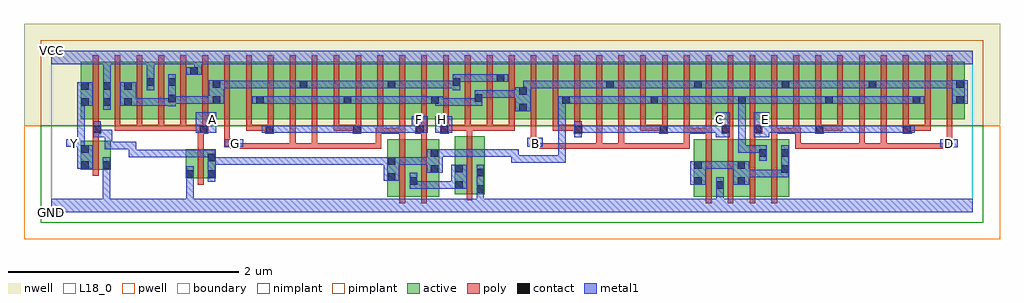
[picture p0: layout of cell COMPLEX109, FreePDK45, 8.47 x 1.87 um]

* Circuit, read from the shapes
.subckt COMPLEX109 A B C D E F G GND H VCC Y
M1 GND n1 Y VSUBS nfet w=0.25u l=0.05u
M2 n1 A GND VSUBS nfet w=0.25u l=0.05u
M3 n2 G n1 VSUBS nfet w=0.5u l=0.05u
M4 n1 F n2 VSUBS nfet w=0.5u l=0.05u
M5 GND H n2 VSUBS nfet w=0.5u l=0.05u
M6 GND B n3 VSUBS nfet w=0.5u l=0.05u
M7 n3 C GND VSUBS nfet w=0.5u l=0.05u
M8 n1 E n3 VSUBS nfet w=0.5u l=0.05u
M9 n3 D n1 VSUBS nfet w=0.5u l=0.05u
M10 VCC n1 Y n4 pfet w=0.5u l=0.05u
M11 n5 A VCC n4 pfet w=0.5u l=0.05u m=5
M12 n6 G n5 n4 pfet w=0.5u l=0.05u
M13 n7 F n6 n4 pfet w=0.5u l=0.05u
M14 n8 F n7 n4 pfet w=0.5u l=0.05u
M15 n5 G n8 n4 pfet w=0.5u l=0.05u
M16 n9 G n5 n4 pfet w=0.5u l=0.05u
M17 n7 F n9 n4 pfet w=0.5u l=0.05u
M18 n10 F n7 n4 pfet w=0.5u l=0.05u
M19 n5 G n10 n4 pfet w=0.5u l=0.05u
M20 n11 G n5 n4 pfet w=0.5u l=0.05u
M21 n7 F n11 n4 pfet w=0.5u l=0.05u
M22 n5 H n7 n4 pfet w=0.5u l=0.05u m=4
M23 n12 B n7 n4 pfet w=0.5u l=0.05u
M24 n1 C n12 n4 pfet w=0.5u l=0.05u
M25 n13 C n1 n4 pfet w=0.5u l=0.05u
M26 n7 B n13 n4 pfet w=0.5u l=0.05u
M27 n14 B n7 n4 pfet w=0.5u l=0.05u
M28 n1 C n14 n4 pfet w=0.5u l=0.05u
M29 n15 C n1 n4 pfet w=0.5u l=0.05u
M30 n7 B n15 n4 pfet w=0.5u l=0.05u
M31 n16 B n7 n4 pfet w=0.5u l=0.05u
M32 n1 C n16 n4 pfet w=0.5u l=0.05u
M33 n17 E n1 n4 pfet w=0.5u l=0.05u
M34 n7 D n17 n4 pfet w=0.5u l=0.05u
M35 n18 D n7 n4 pfet w=0.5u l=0.05u
M36 n1 E n18 n4 pfet w=0.5u l=0.05u
M37 n19 E n1 n4 pfet w=0.5u l=0.05u
M38 n7 D n19 n4 pfet w=0.5u l=0.05u
M39 n20 D n7 n4 pfet w=0.5u l=0.05u
M40 n1 E n20 n4 pfet w=0.5u l=0.05u
M41 n21 E n1 n4 pfet w=0.5u l=0.05u
M42 n7 D n21 n4 pfet w=0.5u l=0.05u
.ends

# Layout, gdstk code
import gdstk
lib = gdstk.Library(unit=1e-6, precision=1e-09)
def R(c, l, rs):  # rectangles x0, y0, x1, y1
    for r in rs: c.add(gdstk.rectangle(r[:2], r[2:], *l))
def A(c, l, x, y, w, h, nx, ny, dx, dy):  # array of equal rectangles
    R(c, l, [(x+i*dx, y+j*dy, x+i*dx+w, y+j*dy+h) for i in range(nx) for j in range(ny)])
active = (1, 0)
pwell = (2, 0)
nwell = (3, 0)
nimplant = (4, 0)
pimplant = (5, 0)
poly = (9, 0)
contact = (10, 0)
metal1 = (11, 0)
L18_0 = (18, 0)
boundary = (235, 0)

complex109 = lib.new_cell('COMPLEX109')
A(complex109, active, 5.042, 0.807, 0.23, 0.5, 3, 1, 0.38, 0)
A(complex109, active, 5.197, 0.807, 0.225, 0.5, 3, 1, 0.38, 0)
A(complex109, active, 6.562, 0.807, 0.225, 0.5, 4, 1, 0.38, 0)
A(complex109, active, 6.712, 0.807, 0.23, 0.5, 3, 1, 0.38, 0)
R(complex109, active, [(2.917,0.132,3.182,0.632), (3.107,0.132,3.367,0.632), (5.577,0.132,5.842,0.632), (5.767,0.132,6.027,0.632), (5.952,0.132,6.217,0.632), (6.142,0.132,6.407,0.632), (3.502,0.157,3.762,0.657), (3.687,0.157,3.762,0.657), (5.767,0.157,5.842,0.577), (2.917,0.195,2.992,0.632), (3.107,0.195,3.182,0.577), (3.292,0.195,3.367,0.632), (3.502,0.195,3.577,0.577), (5.577,0.195,5.652,0.632), (5.952,0.195,6.027,0.577), (6.142,0.195,6.217,0.592), (6.332,0.195,6.407,0.632), (1.17,0.295,1.245,0.545), (1.17,0.295,1.43,0.545), (1.355,0.295,1.43,0.545), (0.257,0.37,0.332,0.62), (0.257,0.37,0.517,0.62), (0.442,0.37,0.517,0.62), (0.257,0.807,0.522,1.307), (0.257,0.807,0.332,1.2), (0.447,0.807,0.707,1.307), (0.447,0.807,0.522,1.305), (0.632,0.807,0.707,1.2), (0.632,0.807,0.902,1.307), (0.827,0.807,1.087,1.307), (0.827,0.807,0.902,1.305), (1.012,0.807,1.277,1.307), (1.012,0.807,1.087,1.2), (1.202,0.807,1.472,1.307), (1.202,0.807,1.277,1.305), (1.397,0.807,1.472,1.2), (1.397,0.807,1.622,1.307), (1.622,0.807,1.852,1.307), (1.777,0.807,2.002,1.307), (1.777,0.807,1.852,1.07), (2.002,0.807,2.227,1.307), (2.152,0.807,2.227,1.2), (2.152,0.807,2.382,1.307), (2.382,0.807,2.612,1.307), (2.537,0.807,2.762,1.307), (2.537,0.807,2.612,1.07), (2.762,0.807,2.992,1.307), (2.917,0.807,2.992,1.2), (2.917,0.807,3.142,1.307), (3.142,0.807,3.37,1.307), (3.295,0.807,3.37,1.07), (3.295,0.807,3.557,1.307), (3.482,0.807,3.747,1.307), (3.482,0.807,3.557,1.2), (3.672,0.807,3.937,1.307), (3.672,0.807,3.747,1.07), (3.862,0.807,3.937,1.2), (3.862,0.807,4.132,1.307), (4.057,0.807,4.132,1.2), (4.057,0.807,4.282,1.307), (4.282,0.807,4.507,1.307), (4.432,0.807,4.662,1.307), (4.432,0.807,4.507,1.07), (4.662,0.807,4.887,1.307), (4.812,0.807,4.887,1.2), (4.812,0.807,5.042,1.307), (5.197,0.807,5.272,1.07), (5.577,0.807,5.652,1.2), (5.957,0.807,6.032,1.07), (6.182,0.807,6.41,1.307), (6.335,0.807,6.41,1.2), (6.335,0.807,6.562,1.307), (6.712,0.807,6.787,1.07), (7.092,0.807,7.167,1.2), (7.472,0.807,7.547,1.07), (7.852,0.807,7.927,1.2)])
R(complex109, pwell, [(-0.235,-0.235,8.235,0.75)])
R(complex109, nwell, [(-0.235,0.75,8.235,1.635)])
R(complex109, nimplant, [(-0.09,-0.09,8.09,0.75)])
R(complex109, pimplant, [(-0.09,0.75,8.09,1.49)])
A(complex109, poly, 5.682, 0.077, 0.05, 0.61, 4, 1, 0.19, 0)
A(complex109, poly, 5.682, 0.637, 0.05, 0.095, 4, 1, 0.19, 0)
A(complex109, poly, 1.857, 0.682, 0.075, 0.075, 3, 1, 0.76, 0)
A(complex109, poly, 0.362, 0.707, 0.05, 0.095, 6, 1, 0.19, 0)
A(complex109, poly, 0.552, 0.707, 0.24, 0.05, 3, 1, 0.19, 0)
A(complex109, poly, 3.212, 0.707, 0.05, 0.095, 5, 1, 0.19, 0)
A(complex109, poly, 0.362, 0.752, 0.05, 0.61, 40, 1, 0.19, 0)
R(complex109, poly, [(3.022,0.077,3.072,0.687), (3.212,0.077,3.262,0.687), (3.607,0.102,3.657,0.712), (1.275,0.24,1.325,0.6), (0.362,0.315,0.412,0.675), (1.275,0.55,1.325,0.732), (1.56,0.55,1.742,0.6), (1.56,0.55,1.61,0.612), (1.692,0.55,1.742,0.6), (1.692,0.55,1.742,0.6), (1.692,0.55,1.742,0.6), (1.692,0.55,1.99,0.6), (1.94,0.55,1.99,0.6), (1.94,0.55,1.99,0.6), (1.94,0.55,1.99,0.6), (1.94,0.55,2.122,0.6), (2.072,0.55,2.122,0.6), (2.072,0.55,2.122,0.6), (2.072,0.55,2.122,0.6), (2.072,0.55,2.122,0.6), (2.072,0.55,2.122,0.6), (2.072,0.55,2.312,0.6), (2.072,0.55,2.122,0.802), (2.262,0.55,2.312,0.6), (2.262,0.55,2.312,0.6), (2.262,0.55,2.312,0.6), (2.262,0.55,2.312,0.6), (2.262,0.55,2.312,0.6), (2.262,0.55,2.535,0.6), (2.262,0.55,2.312,0.802), (2.485,0.55,2.535,0.6), (2.485,0.55,2.535,0.6), (2.485,0.55,2.535,0.6), (2.485,0.55,2.667,0.6), (2.617,0.55,2.667,0.6), (2.617,0.55,2.867,0.6), (2.817,0.55,2.867,0.6), (2.817,0.55,2.867,0.732), (4.187,0.55,4.237,0.6), (4.187,0.55,4.452,0.6), (4.187,0.55,4.237,0.612), (4.402,0.55,4.452,0.6), (4.402,0.55,4.452,0.6), (4.402,0.55,4.452,0.6), (4.402,0.55,4.65,0.6), (4.6,0.55,4.65,0.6), (4.6,0.55,4.782,0.6), (4.732,0.55,4.782,0.6), (4.732,0.55,4.782,0.6), (4.732,0.55,4.782,0.6), (4.732,0.55,4.782,0.6), (4.732,0.55,4.782,0.6), (4.732,0.55,4.972,0.6), (4.732,0.55,4.782,0.802), (4.922,0.55,4.972,0.6), (4.922,0.55,4.972,0.6), (4.922,0.55,4.972,0.6), (4.922,0.55,4.972,0.6), (4.922,0.55,4.972,0.6), (4.922,0.55,5.195,0.6), (4.922,0.55,4.972,0.802), (5.145,0.55,5.195,0.6), (5.145,0.55,5.195,0.6), (5.145,0.55,5.195,0.6), (5.145,0.55,5.327,0.6), (5.277,0.55,5.327,0.6), (5.277,0.55,5.327,0.6), (5.277,0.55,5.327,0.6), (5.277,0.55,5.542,0.6), (5.492,0.55,5.542,0.732), (6.457,0.55,6.64,0.6), (6.457,0.55,6.507,0.732), (6.59,0.55,6.64,0.6), (6.59,0.55,6.64,0.6), (6.59,0.55,6.64,0.6), (6.59,0.55,6.772,0.6), (6.722,0.55,6.772,0.6), (6.722,0.55,6.93,0.6), (6.88,0.55,6.93,0.6), (6.88,0.55,6.93,0.6), (6.88,0.55,6.93,0.6), (6.88,0.55,7.062,0.6), (7.012,0.55,7.062,0.6), (7.012,0.55,7.062,0.6), (7.012,0.55,7.062,0.6), (7.012,0.55,7.062,0.6), (7.012,0.55,7.062,0.6), (7.012,0.55,7.252,0.6), (7.012,0.55,7.062,0.802), (7.202,0.55,7.252,0.6), (7.202,0.55,7.252,0.6), (7.202,0.55,7.252,0.6), (7.202,0.55,7.252,0.6), (7.202,0.55,7.252,0.6), (7.202,0.55,7.475,0.6), (7.202,0.55,7.252,0.802), (7.425,0.55,7.475,0.6), (7.425,0.55,7.607,0.6), (7.557,0.55,7.607,0.6), (7.557,0.55,7.607,0.6), (7.557,0.55,7.607,0.6), (7.557,0.55,7.797,0.6), (7.747,0.55,7.797,0.61), (7.747,0.55,7.797,0.6), (7.747,0.55,7.797,0.6), (7.747,0.55,7.797,0.6), (7.747,0.56,7.822,0.635), (1.502,0.562,1.61,0.637), (1.56,0.562,1.61,0.612), (1.56,0.562,1.61,0.612), (1.56,0.562,1.61,0.612), (4.162,0.562,4.237,0.637), (4.187,0.562,4.237,0.612), (4.187,0.562,4.237,0.612), (7.772,0.585,7.822,0.802), (1.502,0.587,1.552,0.802), (4.162,0.587,4.212,0.802), (0.362,0.625,0.412,0.732), (3.022,0.637,3.072,0.732), (3.212,0.637,3.262,0.732), (3.607,0.662,3.657,0.757), (0.362,0.682,0.437,0.757), (1.275,0.682,1.325,0.732), (1.275,0.682,1.325,0.732), (1.275,0.682,1.362,0.757), (2.817,0.682,2.867,0.732), (2.817,0.682,2.882,0.732), (2.832,0.682,2.882,0.732), (2.832,0.682,3.072,0.732), (2.832,0.682,2.882,0.802), (3.022,0.682,3.072,0.732), (3.022,0.682,3.072,0.732), (3.022,0.682,3.072,0.732), (3.022,0.682,3.072,0.732), (3.022,0.682,3.072,0.732), (3.022,0.682,3.072,0.802), (3.162,0.682,3.262,0.757), (3.212,0.682,3.262,0.732), (3.212,0.682,3.262,0.732), (4.535,0.682,4.61,0.757), (5.277,0.682,5.352,0.757), (5.492,0.682,5.542,0.732), (5.492,0.682,5.542,0.732), (5.492,0.682,5.542,0.732), (5.492,0.682,5.542,0.732), (5.492,0.682,5.732,0.732), (5.492,0.682,5.542,0.802), (5.682,0.682,5.732,0.732), (5.682,0.682,5.732,0.732), (5.682,0.682,5.732,0.732), (5.682,0.682,5.732,0.732), (5.682,0.682,5.732,0.732), (5.682,0.682,5.732,0.802), (5.82,0.682,5.922,0.757), (5.872,0.682,5.922,0.732), (5.872,0.682,5.922,0.732), (6.062,0.682,6.112,0.732), (6.062,0.682,6.112,0.732), (6.062,0.682,6.17,0.757), (6.252,0.682,6.302,0.732), (6.252,0.682,6.302,0.732), (6.252,0.682,6.302,0.732), (6.252,0.682,6.302,0.802), (6.252,0.682,6.507,0.732), (6.442,0.682,6.492,0.802), (6.442,0.682,6.507,0.732), (6.457,0.682,6.507,0.732), (6.457,0.682,6.507,0.732), (6.457,0.682,6.507,0.732), (6.632,0.682,6.707,0.757), (7.392,0.682,7.467,0.757), (0.362,0.707,0.412,0.757), (0.362,0.707,0.412,0.757), (0.552,0.707,0.602,0.757), (0.552,0.707,0.602,0.757), (0.552,0.707,0.602,0.757), (0.742,0.707,0.792,0.757), (0.742,0.707,0.792,0.757), (0.742,0.707,0.792,0.757), (0.932,0.707,0.982,0.757), (0.932,0.707,0.982,0.757), (0.932,0.707,0.982,0.757), (1.122,0.707,1.172,0.757), (1.122,0.707,1.172,0.757), (1.122,0.707,1.172,0.757), (1.122,0.707,1.325,0.757), (1.692,0.707,1.742,0.757), (1.692,0.707,1.742,0.757), (1.692,0.707,1.742,0.757), (1.692,0.707,1.742,0.802), (1.692,0.707,1.907,0.757), (1.882,0.707,1.932,0.802), (2.452,0.707,2.502,0.757), (2.452,0.707,2.502,0.802), (2.452,0.707,2.667,0.757), (2.617,0.707,2.667,0.757), (2.617,0.707,2.667,0.757), (2.642,0.707,2.692,0.802), (3.402,0.707,3.642,0.757), (3.592,0.707,3.642,0.757), (3.592,0.707,3.642,0.757), (3.592,0.707,3.657,0.757), (3.607,0.707,3.657,0.757), (3.607,0.707,3.657,0.757), (3.607,0.707,3.832,0.757), (3.782,0.707,3.832,0.757), (3.782,0.707,3.832,0.757), (3.782,0.707,3.832,0.757), (3.782,0.707,4.022,0.757), (3.972,0.707,4.022,0.757), (3.972,0.707,4.022,0.757), (3.972,0.707,4.022,0.757), (4.352,0.707,4.402,0.757), (4.352,0.707,4.402,0.802), (4.352,0.707,4.585,0.757), (4.535,0.707,4.585,0.757), (4.535,0.707,4.585,0.757), (4.542,0.707,4.592,0.802), (5.112,0.707,5.162,0.757), (5.112,0.707,5.162,0.802), (5.112,0.707,5.327,0.757), (5.277,0.707,5.327,0.757), (5.277,0.707,5.327,0.757), (5.302,0.707,5.352,0.802), (5.872,0.707,5.922,0.802), (6.062,0.707,6.112,0.802), (6.632,0.707,6.682,0.802), (6.657,0.707,6.772,0.757), (6.722,0.707,6.772,0.757), (6.722,0.707,6.872,0.757), (6.822,0.707,6.872,0.757), (6.822,0.707,6.872,0.802), (7.392,0.707,7.442,0.802), (7.417,0.707,7.467,0.757), (7.417,0.707,7.467,0.757), (7.417,0.707,7.632,0.757), (7.582,0.707,7.632,0.757), (7.582,0.707,7.632,0.802)])
R(complex109, contact, [(3.692,0.17,3.757,0.235), (3.507,0.205,3.572,0.27), (5.772,0.205,5.837,0.27), (5.582,0.237,5.647,0.302), (5.957,0.237,6.022,0.302), (3.112,0.24,3.177,0.305), (2.922,0.272,2.987,0.337), (1.175,0.3,1.24,0.365), (1.36,0.3,1.425,0.365), (3.692,0.31,3.757,0.375), (6.337,0.34,6.402,0.405), (3.297,0.342,3.362,0.407), (3.507,0.345,3.572,0.41), (0.262,0.375,0.327,0.44), (0.447,0.375,0.512,0.44), (5.582,0.377,5.647,0.442), (5.957,0.377,6.022,0.442), (2.922,0.412,2.987,0.477), (1.36,0.44,1.425,0.505), (6.147,0.48,6.212,0.545), (6.337,0.48,6.402,0.545), (3.297,0.482,3.362,0.547), (0.262,0.515,0.327,0.58), (7.752,0.565,7.817,0.63), (1.54,0.567,1.605,0.632), (4.167,0.567,4.232,0.632), (0.367,0.687,0.432,0.752), (1.292,0.687,1.357,0.752), (1.862,0.687,1.927,0.752), (2.622,0.687,2.687,0.752), (3.167,0.687,3.232,0.752), (3.382,0.687,3.447,0.752), (4.54,0.687,4.605,0.752), (5.282,0.687,5.347,0.752), (5.825,0.687,5.89,0.752), (6.1,0.687,6.165,0.752), (6.637,0.687,6.702,0.752), (7.397,0.687,7.462,0.752), (4.062,0.877,4.127,0.942), (0.262,0.922,0.327,0.987), (0.452,0.922,0.517,0.987), (0.637,0.922,0.702,0.987), (1.402,0.94,1.467,1.005), (1.782,0.94,1.847,1.005), (2.542,0.94,2.607,1.005), (3.3,0.94,3.365,1.005), (4.437,0.94,4.502,1.005), (5.202,0.94,5.267,1.005), (5.962,0.94,6.027,1.005), (6.717,0.94,6.782,1.005), (7.477,0.94,7.542,1.005), (7.857,0.94,7.922,1.005), (1.017,0.955,1.082,1.02), (3.677,0.957,3.742,1.022), (4.062,1.017,4.127,1.082), (0.262,1.062,0.327,1.127), (0.452,1.062,0.517,1.127), (0.637,1.062,0.702,1.127), (2.157,1.077,2.222,1.142), (2.922,1.077,2.987,1.142), (4.817,1.077,4.882,1.142), (5.582,1.077,5.647,1.142), (6.34,1.077,6.405,1.142), (7.097,1.077,7.162,1.142), (1.402,1.08,1.467,1.145), (7.857,1.08,7.922,1.145), (0.832,1.095,0.897,1.16), (1.017,1.095,1.082,1.16), (3.487,1.095,3.552,1.16), (3.867,1.13,3.932,1.195), (1.207,1.192,1.272,1.257)])
A(complex109, metal1, 0.672, 0.475, 0.203, 0.065, 3, 1, 0.275, 0)
R(complex109, metal1, [(0,0,8,0.115), (0.447,0.05,0.512,0.115), (0.447,0.05,0.512,0.115), (0.447,0.05,0.512,0.115), (0.447,0.05,0.512,0.115), (0.447,0.05,0.512,0.405), (1.175,0.05,1.24,0.33), (3.692,0.05,3.757,0.2), (5.772,0.05,5.837,0.235), (3.692,0.135,3.757,0.41), (5.772,0.17,5.837,0.305), (3.112,0.205,3.177,0.27), (3.112,0.205,3.177,0.27), (3.112,0.205,3.177,0.34), (3.112,0.205,3.4,0.27), (3.335,0.205,3.4,0.27), (3.335,0.205,3.4,0.27), (3.335,0.205,3.4,0.27), (3.335,0.205,3.537,0.27), (3.472,0.205,3.607,0.41), (5.547,0.237,5.682,0.442), (5.922,0.237,6.057,0.442), (1.175,0.265,1.24,0.33), (1.175,0.265,1.24,0.33), (1.175,0.265,1.24,0.33), (1.175,0.265,1.24,0.33), (1.175,0.265,1.24,0.4), (1.36,0.265,1.425,0.54), (2.887,0.272,3.022,0.477), (5.992,0.305,6.057,0.37), (5.992,0.305,6.057,0.37), (5.992,0.305,6.212,0.37), (6.147,0.305,6.212,0.37), (6.147,0.305,6.37,0.37), (6.305,0.305,6.37,0.37), (6.305,0.305,6.402,0.37), (6.337,0.305,6.402,0.58), (0.447,0.34,0.512,0.475), (3.262,0.342,3.397,0.547), (0.227,0.375,0.362,0.58), (5.617,0.377,5.682,0.442), (5.617,0.377,5.682,0.442), (5.617,0.377,5.832,0.442), (5.767,0.377,5.832,0.442), (5.767,0.377,5.832,0.442), (5.767,0.377,5.832,0.442), (5.767,0.377,5.987,0.442), (1.36,0.412,1.57,0.477), (1.505,0.412,1.57,0.477), (1.505,0.412,1.64,0.477), (1.575,0.412,1.64,0.477), (1.575,0.412,1.707,0.477), (1.642,0.412,1.707,0.477), (1.642,0.412,1.912,0.477), (1.847,0.412,1.912,0.477), (1.847,0.412,1.912,0.477), (1.847,0.412,1.912,0.477), (1.847,0.412,2.05,0.477), (1.985,0.412,2.05,0.477), (1.985,0.412,2.187,0.477), (2.122,0.412,2.187,0.477), (2.122,0.412,2.187,0.477), (2.122,0.412,2.187,0.477), (2.122,0.412,2.325,0.477), (2.26,0.412,2.325,0.477), (2.26,0.412,2.395,0.477), (2.33,0.412,2.395,0.477), (2.33,0.412,2.462,0.477), (2.397,0.412,2.462,0.477), (2.397,0.412,2.652,0.477), (2.587,0.412,2.652,0.477), (2.587,0.412,2.652,0.477), (2.587,0.412,2.652,0.477), (2.587,0.412,2.79,0.477), (2.725,0.412,2.79,0.477), (2.725,0.412,2.86,0.477), (2.795,0.412,2.86,0.477), (2.795,0.412,2.952,0.477), (2.957,0.412,3.022,0.477), (2.957,0.412,3.022,0.477), (2.957,0.412,3.19,0.477), (3.125,0.412,3.19,0.477), (3.125,0.412,3.19,0.477), (3.125,0.412,3.19,0.477), (3.125,0.412,3.327,0.477), (3.995,0.43,4.06,0.495), (3.995,0.43,4.06,0.495), (3.995,0.43,4.3,0.495), (3.995,0.43,4.06,0.547), (4.235,0.43,4.3,0.495), (4.235,0.43,4.3,0.495), (4.235,0.43,4.3,0.495), (4.235,0.43,4.467,0.495), (4.402,0.43,4.467,0.495), (4.402,0.43,4.467,0.495), (4.402,0.43,4.467,0.495), (4.402,0.43,4.467,0.495), (4.402,0.43,4.467,0.495), (4.402,0.43,4.467,1.005), (6.147,0.445,6.212,0.58), (0.672,0.475,0.737,0.612), (0.81,0.475,0.875,0.54), (0.81,0.475,1.012,0.54), (0.947,0.475,1.012,0.54), (0.947,0.475,1.012,0.54), (0.947,0.475,1.012,0.54), (1.085,0.475,1.15,0.54), (1.085,0.475,1.287,0.54), (1.222,0.475,1.287,0.54), (1.222,0.475,1.287,0.54), (1.222,0.475,1.287,0.54), (3.332,0.482,3.397,0.547), (3.332,0.482,3.397,0.547), (3.332,0.482,3.605,0.547), (3.54,0.482,3.605,0.547), (3.54,0.482,3.605,0.547), (3.54,0.482,3.605,0.547), (3.54,0.482,3.742,0.547), (3.677,0.482,3.742,0.547), (3.677,0.482,3.742,0.547), (3.677,0.482,3.742,0.547), (3.677,0.482,3.895,0.547), (3.83,0.482,3.895,0.547), (3.83,0.482,4.06,0.547), (0.227,0.515,0.292,0.632), (5.962,0.515,6.027,0.58), (5.962,0.515,6.212,0.58), (5.962,0.515,6.027,1.005), (6.147,0.515,6.212,0.58), (6.147,0.515,6.212,0.58), (0.465,0.547,0.53,0.612), (0.465,0.547,0.6,0.612), (0.465,0.547,0.53,0.717), (0.535,0.547,0.6,0.612), (0.535,0.547,0.737,0.612), (0.672,0.547,0.737,0.612), (0.672,0.547,0.737,0.612), (7.717,0.565,7.867,0.632), (0.132,0.567,0.292,0.632), (0.227,0.567,0.292,0.632), (0.227,0.567,0.292,0.632), (0.227,0.567,0.292,0.987), (1.505,0.567,1.667,0.632), (4.132,0.567,4.267,0.645), (0.367,0.652,0.432,0.787), (0.367,0.652,0.53,0.717), (0.465,0.652,0.53,0.717), (4.54,0.652,4.605,0.787), (5.767,0.652,5.89,0.867), (6.1,0.652,6.232,0.867), (1.257,0.687,1.432,0.867), (1.827,0.687,1.962,0.752), (1.897,0.687,2.05,0.752), (1.985,0.687,2.05,0.752), (1.985,0.687,2.187,0.752), (2.122,0.687,2.187,0.752), (2.122,0.687,2.187,0.752), (2.122,0.687,2.187,0.752), (2.122,0.687,2.325,0.752), (2.26,0.687,2.325,0.752), (2.26,0.687,2.435,0.752), (2.37,0.687,2.435,0.752), (2.37,0.687,2.462,0.752), (2.397,0.687,2.462,0.752), (2.397,0.687,2.652,0.752), (2.587,0.687,2.652,0.752), (2.587,0.687,2.652,0.752), (2.587,0.687,2.722,0.752), (2.657,0.687,2.79,0.752), (2.725,0.687,2.79,0.752), (2.725,0.687,2.86,0.752), (2.795,0.687,2.86,0.752), (2.795,0.687,3.04,0.752), (2.975,0.687,3.04,0.752), (2.975,0.687,3.04,0.752), (2.975,0.687,3.04,0.752), (2.975,0.687,3.177,0.752), (3.112,0.687,3.177,0.752), (3.112,0.687,3.197,0.752), (3.132,0.687,3.267,0.832), (3.332,0.687,3.482,0.832), (4.54,0.687,4.71,0.752), (4.645,0.687,4.71,0.752), (4.645,0.687,4.847,0.752), (4.782,0.687,4.847,0.752), (4.782,0.687,4.847,0.752), (4.782,0.687,4.847,0.752), (4.782,0.687,4.985,0.752), (4.92,0.687,4.985,0.752), (4.92,0.687,5.095,0.752), (5.03,0.687,5.095,0.752), (5.03,0.687,5.155,0.752), (5.09,0.687,5.155,0.752), (5.09,0.687,5.312,0.752), (5.247,0.687,5.312,0.752), (5.247,0.687,5.312,0.752), (5.247,0.687,5.382,0.752), (5.317,0.687,5.475,0.752), (5.41,0.687,5.475,0.752), (5.41,0.687,5.545,0.752), (5.48,0.687,5.545,0.752), (5.48,0.687,5.682,0.752), (5.617,0.687,5.682,0.752), (5.617,0.687,5.682,0.752), (5.617,0.687,5.682,0.752), (5.617,0.687,5.832,0.752), (5.767,0.687,5.832,0.752), (5.767,0.687,5.832,0.752), (6.167,0.687,6.232,0.752), (6.167,0.687,6.232,0.752), (6.167,0.687,6.37,0.752), (6.305,0.687,6.37,0.752), (6.305,0.687,6.37,0.752), (6.305,0.687,6.37,0.752), (6.305,0.687,6.53,0.752), (6.465,0.687,6.53,0.752), (6.465,0.687,6.577,0.752), (6.512,0.687,6.577,0.752), (6.512,0.687,6.667,0.752), (6.602,0.687,6.737,0.752), (6.672,0.687,6.737,0.752), (6.672,0.687,6.737,0.752), (6.672,0.687,6.955,0.752), (6.89,0.687,6.955,0.752), (6.89,0.687,6.955,0.752), (6.89,0.687,6.955,0.752), (6.89,0.687,7.127,0.752), (7.062,0.687,7.127,0.752), (7.062,0.687,7.127,0.752), (7.062,0.687,7.127,0.752), (7.062,0.687,7.29,0.752), (7.225,0.687,7.29,0.752), (7.225,0.687,7.37,0.752), (7.305,0.687,7.37,0.752), (7.305,0.687,7.427,0.752), (7.362,0.687,7.497,0.752), (4.027,0.877,4.162,1.082), (0.452,0.887,0.517,1.162), (1.017,0.92,1.082,1.195), (0.227,0.922,0.362,1.127), (0.602,0.922,0.737,1.127), (0.672,0.922,0.875,0.987), (0.81,0.922,0.875,0.987), (0.81,0.922,0.875,0.987), (0.81,0.922,0.875,0.987), (0.81,0.922,1.012,0.987), (0.947,0.922,1.012,0.987), (0.947,0.922,1.082,0.987), (3.335,0.922,3.537,0.987), (3.335,0.922,3.4,1.005), (3.472,0.922,3.537,0.987), (3.472,0.922,3.537,0.987), (3.472,0.922,3.537,0.987), (3.472,0.922,3.742,0.987), (3.677,0.922,3.742,1.057), (1.017,0.94,1.15,1.005), (1.085,0.94,1.15,1.005), (1.085,0.94,1.287,1.005), (1.222,0.94,1.287,1.005), (1.222,0.94,1.432,1.005), (1.367,0.94,1.432,1.005), (1.367,0.94,1.432,1.005), (1.367,0.94,1.502,1.145), (1.747,0.94,1.882,1.005), (1.817,0.94,2.05,1.005), (1.985,0.94,2.05,1.005), (1.985,0.94,2.05,1.005), (1.985,0.94,2.05,1.005), (1.985,0.94,2.187,1.005), (2.122,0.94,2.187,1.005), (2.122,0.94,2.187,1.005), (2.122,0.94,2.187,1.005), (2.122,0.94,2.325,1.005), (2.26,0.94,2.325,1.005), (2.26,0.94,2.395,1.005), (2.33,0.94,2.395,1.005), (2.33,0.94,2.505,1.005), (2.44,0.94,2.505,1.005), (2.44,0.94,2.572,1.005), (2.507,0.94,2.642,1.005), (2.577,0.94,2.642,1.005), (2.577,0.94,2.642,1.005), (2.577,0.94,2.79,1.005), (2.725,0.94,2.79,1.005), (2.725,0.94,2.885,1.005), (2.82,0.94,2.885,1.005), (2.82,0.94,3.022,1.005), (2.957,0.94,3.022,1.005), (2.957,0.94,3.022,1.005), (2.957,0.94,3.022,1.005), (2.957,0.94,3.177,1.005), (3.112,0.94,3.177,1.005), (3.112,0.94,3.177,1.005), (3.112,0.94,3.177,1.005), (3.112,0.94,3.33,1.005), (3.265,0.94,3.4,1.005), (3.335,0.94,3.4,1.005), (4.402,0.94,4.467,1.005), (4.402,0.94,4.467,1.005), (4.402,0.94,4.537,1.005), (4.472,0.94,4.675,1.005), (4.61,0.94,4.675,1.005), (4.61,0.94,4.675,1.005), (4.61,0.94,4.675,1.005), (4.61,0.94,4.847,1.005), (4.782,0.94,4.847,1.005), (4.782,0.94,4.847,1.005), (4.782,0.94,4.847,1.005), (4.782,0.94,4.985,1.005), (4.92,0.94,4.985,1.005), (4.92,0.94,5.095,1.005), (5.03,0.94,5.095,1.005), (5.03,0.94,5.155,1.005), (5.09,0.94,5.155,1.005), (5.09,0.94,5.232,1.005), (5.167,0.94,5.302,1.005), (5.237,0.94,5.302,1.005), (5.237,0.94,5.302,1.005), (5.237,0.94,5.475,1.005), (5.41,0.94,5.475,1.005), (5.41,0.94,5.545,1.005), (5.48,0.94,5.545,1.005), (5.48,0.94,5.695,1.005), (5.63,0.94,5.695,1.005), (5.63,0.94,5.695,1.005), (5.63,0.94,5.695,1.005), (5.63,0.94,5.85,1.005), (5.785,0.94,5.85,1.005), (5.785,0.94,5.85,1.005), (5.785,0.94,5.85,1.005), (5.785,0.94,5.992,1.005), (5.927,0.94,6.062,1.005), (5.962,0.94,6.027,1.005), (5.962,0.94,6.027,1.005), (5.962,0.94,6.027,1.005), (5.962,0.94,6.027,1.005), (5.997,0.94,6.212,1.005), (6.147,0.94,6.212,1.005), (6.147,0.94,6.212,1.005), (6.147,0.94,6.212,1.005), (6.147,0.94,6.37,1.005), (6.305,0.94,6.37,1.005), (6.305,0.94,6.37,1.005), (6.305,0.94,6.37,1.005), (6.305,0.94,6.507,1.005), (6.442,0.94,6.507,1.005), (6.442,0.94,6.577,1.005), (6.512,0.94,6.577,1.005), (6.512,0.94,6.747,1.005), (6.682,0.94,6.747,1.005), (6.682,0.94,6.747,1.005), (6.682,0.94,6.817,1.005), (6.752,0.94,6.955,1.005), (6.89,0.94,6.955,1.005), (6.89,0.94,6.955,1.005), (6.89,0.94,6.955,1.005), (6.89,0.94,7.092,1.005), (7.027,0.94,7.092,1.005), (7.027,0.94,7.092,1.005), (7.027,0.94,7.092,1.005), (7.027,0.94,7.265,1.005), (7.2,0.94,7.265,1.005), (7.2,0.94,7.37,1.005), (7.305,0.94,7.37,1.005), (7.305,0.94,7.507,1.005), (7.442,0.94,7.507,1.005), (7.442,0.94,7.507,1.005), (7.442,0.94,7.577,1.005), (7.822,0.94,7.957,1.145), (3.677,0.992,3.742,1.057), (3.677,0.992,3.742,1.057), (3.677,0.992,3.922,1.057), (3.857,0.992,3.922,1.057), (3.857,0.992,3.922,1.057), (3.857,0.992,3.922,1.057), (3.857,0.992,4.092,1.057), (4.097,1.017,4.162,1.082), (4.097,1.017,4.162,1.082), (4.097,1.017,4.162,1.142), (0.832,1.06,0.897,1.195), (3.487,1.06,3.552,1.195), (1.437,1.077,1.57,1.142), (1.505,1.077,1.57,1.142), (1.505,1.077,1.64,1.142), (1.575,1.077,1.64,1.142), (1.575,1.077,1.707,1.142), (1.642,1.077,1.707,1.142), (1.642,1.077,1.777,1.142), (1.712,1.077,1.777,1.142), (1.712,1.077,2.05,1.142), (1.985,1.077,2.05,1.142), (1.985,1.077,2.05,1.142), (1.985,1.077,2.05,1.142), (1.985,1.077,2.187,1.142), (2.122,1.077,2.187,1.142), (2.122,1.077,2.187,1.142), (2.122,1.077,2.257,1.142), (2.192,1.077,2.325,1.142), (2.26,1.077,2.325,1.142), (2.26,1.077,2.395,1.142), (2.33,1.077,2.395,1.142), (2.33,1.077,2.505,1.142), (2.44,1.077,2.505,1.142), (2.44,1.077,2.652,1.142), (2.587,1.077,2.652,1.142), (2.587,1.077,2.652,1.142), (2.587,1.077,2.652,1.142), (2.587,1.077,2.79,1.142), (2.725,1.077,2.79,1.142), (2.725,1.077,2.885,1.142), (2.82,1.077,2.885,1.142), (2.82,1.077,2.952,1.142), (2.887,1.077,3.022,1.142), (2.957,1.077,3.022,1.142), (2.957,1.077,3.022,1.142), (2.957,1.077,3.19,1.142), (3.125,1.077,3.19,1.142), (3.125,1.077,3.19,1.142), (3.125,1.077,3.19,1.142), (3.125,1.077,3.4,1.142), (3.335,1.077,3.4,1.142), (3.335,1.077,3.4,1.142), (3.335,1.077,3.4,1.142), (3.335,1.077,3.552,1.142), (4.097,1.077,4.162,1.142), (4.097,1.077,4.3,1.142), (4.235,1.077,4.3,1.142), (4.235,1.077,4.3,1.142), (4.235,1.077,4.3,1.142), (4.235,1.077,4.437,1.142), (4.372,1.077,4.437,1.142), (4.372,1.077,4.437,1.142), (4.372,1.077,4.437,1.142), (4.372,1.077,4.675,1.142), (4.61,1.077,4.675,1.142), (4.61,1.077,4.675,1.142), (4.61,1.077,4.675,1.142), (4.61,1.077,4.847,1.142), (4.782,1.077,4.847,1.142), (4.782,1.077,4.847,1.142), (4.782,1.077,4.917,1.142), (4.852,1.077,4.985,1.142), (4.92,1.077,4.985,1.142), (4.92,1.077,5.055,1.142), (4.99,1.077,5.055,1.142), (4.99,1.077,5.155,1.142), (5.09,1.077,5.155,1.142), (5.09,1.077,5.337,1.142), (5.272,1.077,5.337,1.142), (5.272,1.077,5.337,1.142), (5.272,1.077,5.337,1.142), (5.272,1.077,5.475,1.142), (5.41,1.077,5.475,1.142), (5.41,1.077,5.545,1.142), (5.48,1.077,5.545,1.142), (5.48,1.077,5.612,1.142), (5.547,1.077,5.682,1.142), (5.617,1.077,5.682,1.142), (5.617,1.077,5.682,1.142), (5.617,1.077,5.85,1.142), (5.785,1.077,5.85,1.142), (5.785,1.077,5.85,1.142), (5.785,1.077,5.85,1.142), (5.785,1.077,6.075,1.142), (6.01,1.077,6.075,1.142), (6.01,1.077,6.075,1.142), (6.01,1.077,6.075,1.142), (6.01,1.077,6.212,1.142), (6.147,1.077,6.212,1.142), (6.147,1.077,6.37,1.142), (6.305,1.077,6.37,1.142), (6.305,1.077,6.37,1.142), (6.305,1.077,6.44,1.142), (6.375,1.077,6.53,1.142), (6.465,1.077,6.53,1.142), (6.465,1.077,6.577,1.142), (6.512,1.077,6.577,1.142), (6.512,1.077,6.817,1.142), (6.752,1.077,6.817,1.142), (6.752,1.077,6.817,1.142), (6.752,1.077,6.817,1.142), (6.752,1.077,6.955,1.142), (6.89,1.077,6.955,1.142), (6.89,1.077,6.955,1.142), (6.89,1.077,6.955,1.142), (6.89,1.077,7.127,1.142), (7.062,1.077,7.127,1.142), (7.062,1.077,7.127,1.142), (7.062,1.077,7.197,1.142), (7.132,1.077,7.265,1.142), (7.2,1.077,7.265,1.142), (7.2,1.077,7.37,1.142), (7.305,1.077,7.37,1.142), (7.305,1.077,7.507,1.142), (7.442,1.077,7.507,1.142), (7.442,1.077,7.507,1.142), (7.442,1.077,7.507,1.142), (7.442,1.077,7.645,1.142), (7.58,1.077,7.645,1.142), (7.58,1.077,7.645,1.142), (7.58,1.077,7.645,1.142), (7.58,1.077,7.887,1.142), (7.822,1.077,7.887,1.142), (7.822,1.077,7.887,1.142), (0.452,1.097,0.517,1.35), (0.832,1.13,0.897,1.35), (3.487,1.13,3.552,1.195), (3.487,1.13,3.552,1.195), (3.487,1.13,3.742,1.195), (3.677,1.13,3.742,1.195), (3.677,1.13,3.742,1.195), (3.677,1.13,3.742,1.195), (3.677,1.13,3.897,1.195), (3.832,1.13,3.967,1.195), (1.172,1.192,1.307,1.257), (1.242,1.192,1.307,1.35), (0,1.285,8,1.4)])
R(complex109, L18_0, [(0,0,8,0.115), (0.447,0.05,0.512,0.115), (0.447,0.05,0.512,0.115), (0.447,0.05,0.512,0.115), (0.447,0.05,0.512,0.115), (0.447,0.05,0.512,0.405), (1.175,0.05,1.24,0.33), (3.692,0.05,3.757,0.2), (5.772,0.05,5.837,0.235), (3.692,0.135,3.757,0.41), (5.772,0.17,5.837,0.305), (1.175,0.265,1.24,0.33), (1.175,0.265,1.24,0.33), (1.175,0.265,1.24,0.33), (1.175,0.265,1.24,0.33), (1.175,0.265,1.24,0.4), (0.447,0.34,0.512,0.475), (0.227,0.375,0.362,0.58), (0.227,0.515,0.292,0.632), (7.717,0.565,7.867,0.632), (0.132,0.567,0.292,0.632), (0.167,0.567,0.232,0.632), (0.227,0.567,0.292,0.632), (0.227,0.567,0.292,0.632), (0.227,0.567,0.292,0.987), (1.505,0.567,1.667,0.632), (1.567,0.567,1.632,0.632), (4.132,0.567,4.267,0.645), (4.167,0.567,4.232,0.632), (7.767,0.567,7.832,0.632), (4.54,0.652,4.605,0.787), (5.767,0.652,5.89,0.867), (6.1,0.652,6.232,0.867), (1.257,0.687,1.432,0.867), (1.827,0.687,1.962,0.752), (1.897,0.687,2.05,0.752), (1.985,0.687,2.05,0.752), (1.985,0.687,2.187,0.752), (2.122,0.687,2.187,0.752), (2.122,0.687,2.187,0.752), (2.122,0.687,2.187,0.752), (2.122,0.687,2.325,0.752), (2.26,0.687,2.325,0.752), (2.26,0.687,2.435,0.752), (2.37,0.687,2.435,0.752), (2.37,0.687,2.462,0.752), (2.397,0.687,2.462,0.752), (2.397,0.687,2.652,0.752), (2.587,0.687,2.652,0.752), (2.587,0.687,2.652,0.752), (2.587,0.687,2.722,0.752), (2.657,0.687,2.79,0.752), (2.725,0.687,2.79,0.752), (2.725,0.687,2.86,0.752), (2.795,0.687,2.86,0.752), (2.795,0.687,3.04,0.752), (2.975,0.687,3.04,0.752), (2.975,0.687,3.04,0.752), (2.975,0.687,3.04,0.752), (2.975,0.687,3.177,0.752), (3.112,0.687,3.177,0.752), (3.112,0.687,3.197,0.752), (3.132,0.687,3.267,0.832), (3.332,0.687,3.482,0.832), (4.54,0.687,4.71,0.752), (4.645,0.687,4.71,0.752), (4.645,0.687,4.847,0.752), (4.782,0.687,4.847,0.752), (4.782,0.687,4.847,0.752), (4.782,0.687,4.847,0.752), (4.782,0.687,4.985,0.752), (4.92,0.687,4.985,0.752), (4.92,0.687,5.095,0.752), (5.03,0.687,5.095,0.752), (5.03,0.687,5.155,0.752), (5.09,0.687,5.155,0.752), (5.09,0.687,5.312,0.752), (5.247,0.687,5.312,0.752), (5.247,0.687,5.312,0.752), (5.247,0.687,5.382,0.752), (5.317,0.687,5.475,0.752), (5.41,0.687,5.475,0.752), (5.41,0.687,5.545,0.752), (5.48,0.687,5.545,0.752), (5.48,0.687,5.682,0.752), (5.617,0.687,5.682,0.752), (5.617,0.687,5.682,0.752), (5.617,0.687,5.682,0.752), (5.617,0.687,5.832,0.752), (5.767,0.687,5.832,0.752), (5.767,0.687,5.832,0.752), (6.167,0.687,6.232,0.752), (6.167,0.687,6.232,0.752), (6.167,0.687,6.37,0.752), (6.305,0.687,6.37,0.752), (6.305,0.687,6.37,0.752), (6.305,0.687,6.37,0.752), (6.305,0.687,6.53,0.752), (6.465,0.687,6.53,0.752), (6.465,0.687,6.577,0.752), (6.512,0.687,6.577,0.752), (6.512,0.687,6.667,0.752), (6.602,0.687,6.737,0.752), (6.672,0.687,6.737,0.752), (6.672,0.687,6.737,0.752), (6.672,0.687,6.955,0.752), (6.89,0.687,6.955,0.752), (6.89,0.687,6.955,0.752), (6.89,0.687,6.955,0.752), (6.89,0.687,7.127,0.752), (7.062,0.687,7.127,0.752), (7.062,0.687,7.127,0.752), (7.062,0.687,7.127,0.752), (7.062,0.687,7.29,0.752), (7.225,0.687,7.29,0.752), (7.225,0.687,7.37,0.752), (7.305,0.687,7.37,0.752), (7.305,0.687,7.427,0.752), (7.362,0.687,7.497,0.752), (1.367,0.767,1.432,0.832), (3.167,0.767,3.232,0.832), (3.367,0.767,3.432,0.832), (5.767,0.767,5.832,0.832), (6.167,0.767,6.232,0.832), (0.452,0.887,0.517,1.162), (0.227,0.922,0.362,1.127), (0.832,1.06,0.897,1.195), (0.452,1.097,0.517,1.35), (0.832,1.13,0.897,1.35), (1.172,1.192,1.307,1.257), (1.242,1.192,1.307,1.35), (0,1.285,8,1.4)])
R(complex109, boundary, [(0,0,8,1.4)])
complex109.add(gdstk.Label('A', (1.4,0.8), layer=11, texttype=0))
complex109.add(gdstk.Label('B', (4.2,0.6), layer=11, texttype=0))
complex109.add(gdstk.Label('C', (5.8,0.8), layer=11, texttype=0))
complex109.add(gdstk.Label('D', (7.8,0.6), layer=11, texttype=0))
complex109.add(gdstk.Label('E', (6.2,0.8), layer=11, texttype=0))
complex109.add(gdstk.Label('F', (3.2,0.8), layer=11, texttype=0))
complex109.add(gdstk.Label('G', (1.6,0.6), layer=11, texttype=0))
complex109.add(gdstk.Label('H', (3.4,0.8), layer=11, texttype=0))
complex109.add(gdstk.Label('Y', (0.2,0.6), layer=11, texttype=0))
complex109.add(gdstk.Label('VCC', (0,1.4), layer=11, texttype=0))
complex109.add(gdstk.Label('GND', (0,0), layer=11, texttype=0))

lib.write_gds('COMPLEX109.gds')
